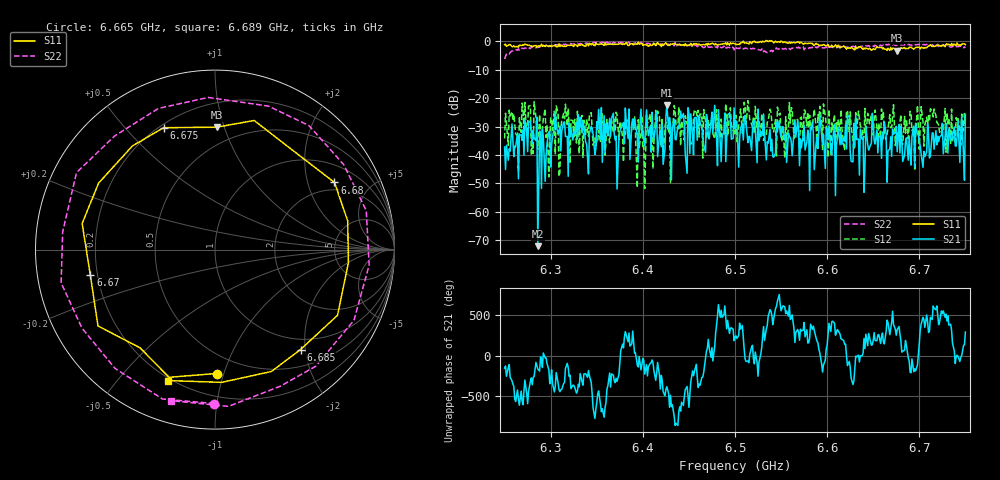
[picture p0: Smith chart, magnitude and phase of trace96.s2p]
# Hz S RI R 50
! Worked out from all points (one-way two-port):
!   401 points, 6.25 GHz to 6.75 GHz, reference 50 ohm
!   highest |S21| = -22.44 dB at 6.426 GHz (marker M1); lowest = -72.0 dB at 6.286 GHz (marker M2)
!   lowest |S11| = -3.3 dB at 6.676 GHz (marker M3), VSWR 5.29, Z = 18.5 + j47.1 ohm
!   |S11| at or under -10 dB: nowhere
!   |S22| runs from -6.2 to -0.2 dB; largest |S21 - S12| = 0.12
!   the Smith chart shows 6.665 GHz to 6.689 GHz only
!   S11 on the Smith chart (normalised r, x): 6.665 GHz: 0.36, -0.95; 6.67 GHz: 0.17, -0.10; 6.675 GHz: 0.22, +0.64; 6.68 GHz: 1.66, +2.97; 6.685 GHz: 0.79, -1.91; 6.689 GHz: 0.19, -0.69
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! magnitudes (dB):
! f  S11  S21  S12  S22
! 6.25 GHz  -1.2  -37.2  -34.2  -6.2
! 6.275 GHz  -1.4  -38.8  -29.8  -2.2
! 6.286 GHz  -1.7  -72.0  -38.0  -2.2
! 6.334 GHz  -1.1  -32.2  -26.1  -0.9
! 6.34 GHz  -1.1  -40.9  -31.2  -0.8
! 6.352 GHz  -1.2  -24.0  -31.3  -0.6
! 6.371 GHz  -1.1  -33.4  -24.9  -0.4
! 6.38 GHz  -1.1  -35.8  -28.4  -0.5
! 6.418 GHz  -1.2  -33.1  -26.5  -0.9
! 6.426 GHz  -1.2  -22.4  -28.7  -1.0
! 6.5 GHz  -1.0  -30.7  -33.0  -2.4
! 6.512 GHz  -0.6  -28.9  -29.4  -2.5
! 6.584 GHz  -0.8  -28.4  -29.5  -2.1
! 6.665 GHz  -3.2  -49.5  -32.8  -1.3
! 6.668 GHz  -3.2  -37.9  -25.8  -1.3
! 6.67 GHz  -3.0  -40.4  -30.4  -1.1
! 6.675 GHz  -2.6  -29.9  -33.1  -1.4
! 6.676 GHz  -3.3  -38.8  -34.2  -1.4
! 6.68 GHz  -2.3  -30.0  -25.8  -1.3
! 6.685 GHz  -2.7  -35.5  -32.3  -1.3
! 6.689 GHz  -2.2  -33.4  -30.2  -1.1
! 6.75 GHz  -1.2  -25.7  -29.1  -2.3
